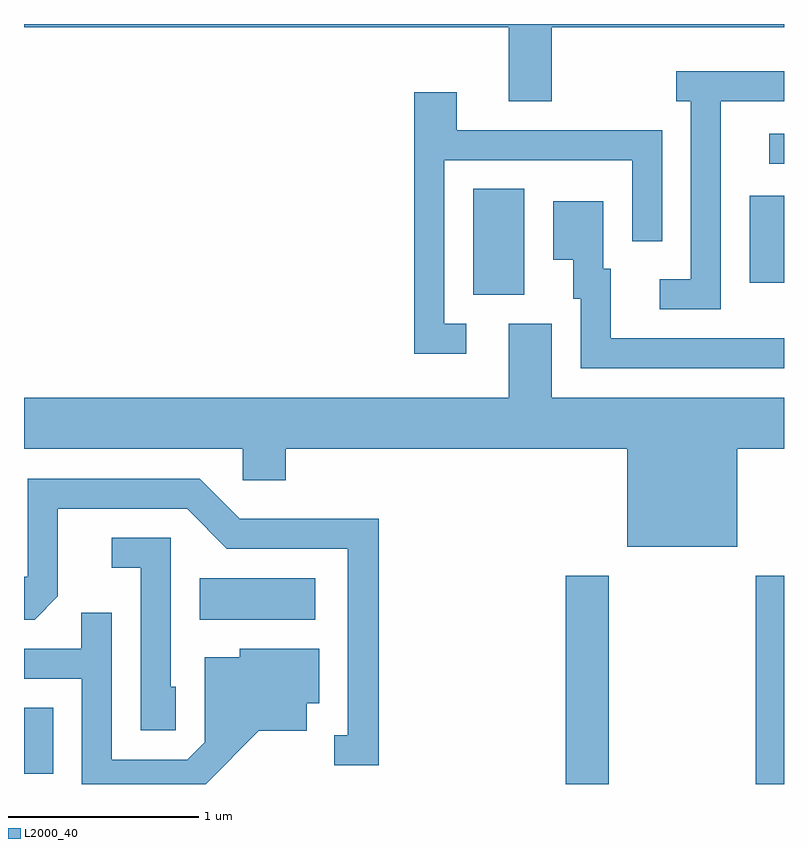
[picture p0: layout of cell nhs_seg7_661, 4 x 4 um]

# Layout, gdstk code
import gdstk
lib = gdstk.Library(unit=1e-6, precision=1e-09)
def R(c, l, rs):  # rectangles x0, y0, x1, y1
    for r in rs: c.add(gdstk.rectangle(r[:2], r[2:], *l))
def P(c, l, *ps):  # polygons
    for p in ps: c.add(gdstk.Polygon(p, *l))
L2000_40 = (2000, 40)

nhs_seg7_661 = lib.new_cell('nhs_seg7_661')
R(nhs_seg7_661, L2000_40, [(206.461,1790.252,206.689,1791.349), (207.461,1790.252,207.611,1791.349), (203.611,1790.306,203.764,1790.654), (204.536,1791.116,205.144,1791.334), (205.976,1792.826,206.244,1793.384), (207.431,1792.891,207.611,1793.349), (207.533,1793.516,207.611,1793.674)])
P(nhs_seg7_661, L2000_40, [(206.389,1794.236),(207.611,1794.236),(207.611,1794.252),(203.611,1794.252),(203.611,1794.236),(206.161,1794.236),(206.161,1793.846),(206.389,1793.846)],
  [(207.279,1793.846),(207.611,1793.846),(207.611,1794.004),(207.043,1794.004),(207.043,1793.846),(207.121,1793.846),(207.121,1792.909),(206.958,1792.909),(206.958,1792.751),(207.279,1792.751)],
  [(205.938,1792.674),(205.824,1792.674),(205.824,1793.536),(206.811,1793.536),(206.811,1793.108),(206.969,1793.108),(206.969,1793.694),(205.889,1793.694),(205.889,1793.894),(205.666,1793.894),(205.666,1792.516),(205.938,1792.516)],
  [(207.611,1792.599),(206.699,1792.599),(206.699,1792.964),(206.659,1792.964),(206.659,1793.319),(206.396,1793.319),(206.396,1793.011),(206.501,1793.011),(206.501,1792.806),(206.541,1792.806),(206.541,1792.441),(207.611,1792.441)],
  [(207.364,1792.016),(207.611,1792.016),(207.611,1792.284),(206.389,1792.284),(206.389,1792.674),(206.161,1792.674),(206.161,1792.284),(203.611,1792.284),(203.611,1792.016),(204.761,1792.016),(204.761,1791.851),(204.989,1791.851),(204.989,1792.016),(206.786,1792.016),(206.786,1791.501),(207.364,1791.501)],
  [(205.479,1791.649),(204.747,1791.649),(204.537,1791.859),(203.631,1791.859),(203.631,1791.344),(203.611,1791.344),(203.611,1791.116),(203.667,1791.116),(203.789,1791.239),(203.789,1791.701),(204.469,1791.701),(204.679,1791.491),(205.316,1791.491),(205.316,1790.509),(205.243,1790.509),(205.243,1790.351),(205.479,1790.351)],
  [(204.409,1790.764),(204.384,1790.764),(204.384,1791.549),(204.073,1791.549),(204.073,1791.391),(204.226,1791.391),(204.226,1790.536),(204.409,1790.536)],
  [(204.847,1790.531),(205.099,1790.531),(205.099,1790.676),(205.164,1790.676),(205.164,1790.964),(204.746,1790.964),(204.746,1790.919),(204.561,1790.919),(204.561,1790.472),(204.469,1790.379),(204.074,1790.379),(204.074,1791.153),(203.911,1791.153),(203.911,1790.964),(203.611,1790.964),(203.611,1790.806),(203.916,1790.806),(203.916,1790.252),(204.568,1790.252)])

lib.write_gds('nhs_seg7_661.gds')
